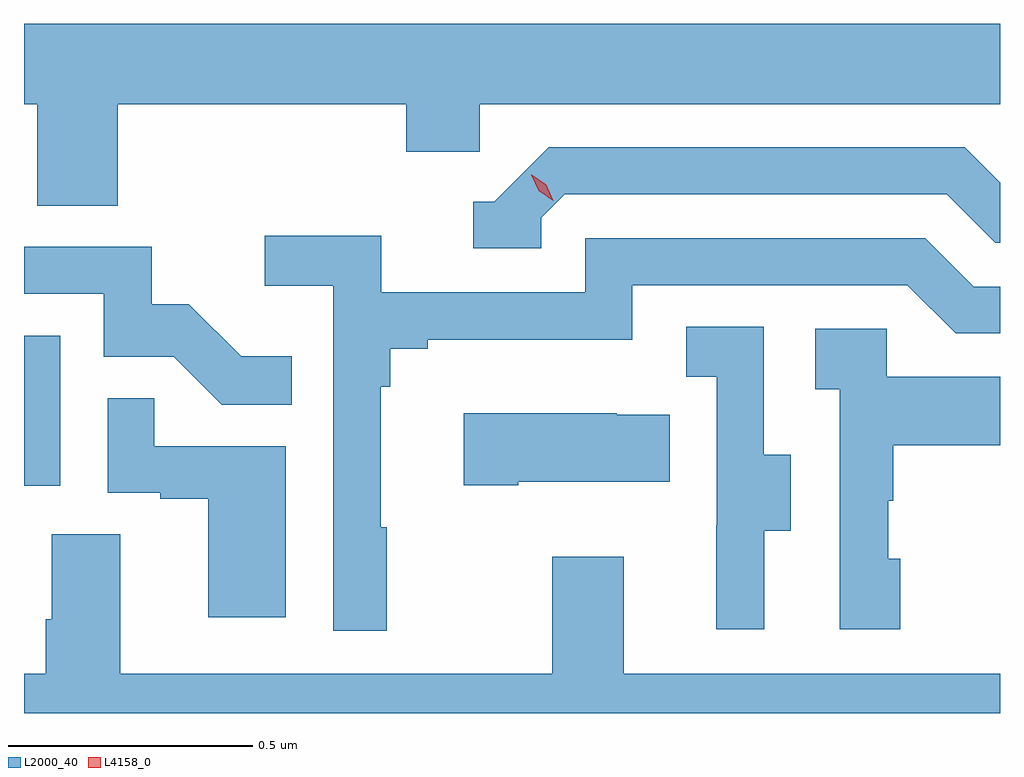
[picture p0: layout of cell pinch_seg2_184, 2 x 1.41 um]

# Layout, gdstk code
import gdstk
lib = gdstk.Library(unit=1e-6, precision=1e-09)
def R(c, l, rs):  # rectangles x0, y0, x1, y1
    for r in rs: c.add(gdstk.rectangle(r[:2], r[2:], *l))
def P(c, l, *ps):  # polygons
    for p in ps: c.add(gdstk.Polygon(p, *l))
L2000_40 = (2000, 40)
L4158_0 = (4158, 0)

pinch_seg2_184 = lib.new_cell('pinch_seg2_184')
R(pinch_seg2_184, L2000_40, [(1080.05,638.862,1080.124,639.169)])
P(pinch_seg2_184, L2000_40, [(1080.242,639.644),(1080.833,639.644),(1080.833,639.546),(1080.984,639.546),(1080.984,639.644),(1082.05,639.644),(1082.05,639.808),(1080.05,639.808),(1080.05,639.644),(1080.077,639.644),(1080.077,639.436),(1080.242,639.436)],
  [(1081.11,639.411),(1081.158,639.459),(1081.941,639.459),(1082.04,639.36),(1082.05,639.36),(1082.05,639.483),(1081.978,639.555),(1081.125,639.555),(1081.014,639.444),(1080.971,639.444),(1080.971,639.348),(1081.11,639.348)],
  [(1080.793,638.777),(1080.781,638.777),(1080.781,639.065),(1080.8,639.065),(1080.8,639.142),(1080.877,639.142),(1080.877,639.161),(1081.296,639.161),(1081.296,639.273),(1081.86,639.273),(1081.959,639.174),(1082.05,639.174),(1082.05,639.27),(1081.996,639.27),(1081.897,639.369),(1081.2,639.369),(1081.2,639.258),(1080.782,639.258),(1080.782,639.374),(1080.543,639.374),(1080.543,639.272),(1080.684,639.272),(1080.684,638.565),(1080.793,638.565)],
  [(1080.599,639.127),(1080.495,639.127),(1080.388,639.234),(1080.312,639.234),(1080.312,639.351),(1080.05,639.351),(1080.05,639.255),(1080.213,639.255),(1080.213,639.126),(1080.357,639.126),(1080.455,639.028),(1080.599,639.028)],
  [(1081.567,638.77),(1081.621,638.77),(1081.621,638.925),(1081.566,638.925),(1081.566,639.188),(1081.407,639.188),(1081.407,639.085),(1081.47,639.085),(1081.47,638.781),(1081.469,638.781),(1081.469,638.568),(1081.567,638.568)],
  [(1081.846,638.712),(1081.821,638.712),(1081.821,638.831),(1081.831,638.831),(1081.831,638.945),(1082.05,638.945),(1082.05,639.085),(1081.818,639.085),(1081.818,639.183),(1081.671,639.183),(1081.671,639.059),(1081.722,639.059),(1081.722,638.568),(1081.846,638.568)],
  [(1080.586,638.943),(1080.317,638.943),(1080.317,639.041),(1080.222,639.041),(1080.222,638.847),(1080.329,638.847),(1080.329,638.835),(1080.428,638.835),(1080.428,638.592),(1080.586,638.592)],
  [(1081.063,638.87),(1081.373,638.87),(1081.373,639.007),(1081.265,639.007),(1081.265,639.01),(1080.951,639.01),(1080.951,638.863),(1081.063,638.863)],
  [(1082.05,638.476),(1081.279,638.476),(1081.279,638.716),(1081.132,638.716),(1081.132,638.476),(1080.247,638.476),(1080.247,638.762),(1080.107,638.762),(1080.107,638.588),(1080.095,638.588),(1080.095,638.476),(1080.05,638.476),(1080.05,638.396),(1082.05,638.396)])
P(pinch_seg2_184, L4158_0, [(1081.135,639.446),(1081.105,639.466),(1081.089,639.499),(1081.089,639.499),(1081.09,639.499),(1081.12,639.479),(1081.135,639.446),(1081.135,639.446)])

lib.write_gds('pinch_seg2_184.gds')
